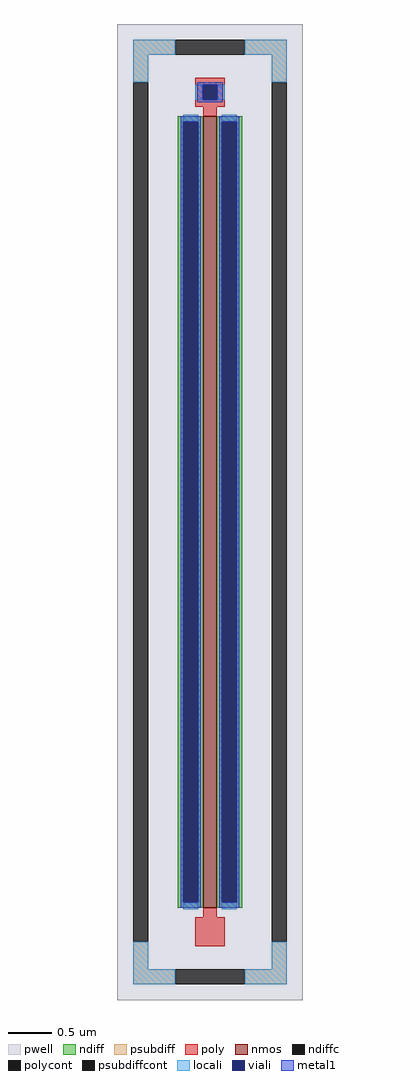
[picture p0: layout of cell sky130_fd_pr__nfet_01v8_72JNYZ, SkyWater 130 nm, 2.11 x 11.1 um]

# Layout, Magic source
magic
tech sky130A
magscale 1 2
<< pwell >>
rect -211 -1110 211 1110
<< nmos >>
rect -15 -900 15 900
<< ndiff >>
rect -73 888 -15 900
rect -73 -888 -61 888
rect -27 -888 -15 888
rect -73 -900 -15 -888
rect 15 888 73 900
rect 15 -888 27 888
rect 61 -888 73 888
rect 15 -900 73 -888
<< ndiffc >>
rect -61 -888 -27 888
rect 27 -888 61 888
<< psubdiff >>
rect -175 1040 -79 1074
rect 79 1040 175 1074
rect -175 978 -141 1040
rect 141 978 175 1040
rect -175 -1040 -141 -978
rect 141 -1040 175 -978
rect -175 -1074 -79 -1040
rect 79 -1074 175 -1040
<< psubdiffcont >>
rect -79 1040 79 1074
rect -175 -978 -141 978
rect 141 -978 175 978
rect -79 -1074 79 -1040
<< poly >>
rect -33 972 33 988
rect -33 938 -17 972
rect 17 938 33 972
rect -33 922 33 938
rect -15 900 15 922
rect -15 -922 15 -900
rect -33 -988 33 -922
<< polycont >>
rect -17 938 17 972
<< locali >>
rect -175 1040 -79 1074
rect 79 1040 175 1074
rect -175 978 -141 1040
rect 141 978 175 1040
rect -33 938 -17 972
rect 17 938 33 972
rect -61 888 -27 904
rect -61 -904 -27 -888
rect 27 888 61 904
rect 27 -904 61 -888
rect -175 -1040 -141 -978
rect 141 -1040 175 -978
rect -175 -1074 -79 -1040
rect 79 -1074 175 -1040
<< viali >>
rect -17 938 17 972
rect -61 -888 -27 888
rect 27 -888 61 888
<< metal1 >>
rect -29 972 29 978
rect -29 938 -17 972
rect 17 938 29 972
rect -29 932 29 938
rect -67 888 -21 900
rect -67 -888 -61 888
rect -27 -888 -21 888
rect -67 -900 -21 -888
rect 21 888 67 900
rect 21 -888 27 888
rect 61 -888 67 888
rect 21 -900 67 -888
<< properties >>
string FIXED_BBOX -158 -1057 158 1057
string gencell sky130_fd_pr__nfet_01v8
string library sky130
string parameters w 9 l 0.150 m 1 nf 1 diffcov 100 polycov 100 guard 1 glc 1 grc 1 gtc 1 gbc 1 tbcov 100 rlcov 100 topc 1 botc 1 poverlap 0 doverlap 1 lmin 0.15 wmin 0.42 compatible {sky130_fd_pr__nfet_01v8 sky130_fd_pr__nfet_01v8_lvt  sky130_fd_bs_flash__special_sonosfet_star  sky130_fd_pr__nfet_g5v0d10v5 sky130_fd_pr__nfet_05v0_nvt  sky130_fd_pr__nfet_03v3_nvt} full_metal 1 viasrc 100 viadrn 100 viagate 100 viagb 0 viagr 0 viagl 0 viagt 0
<< end >>
